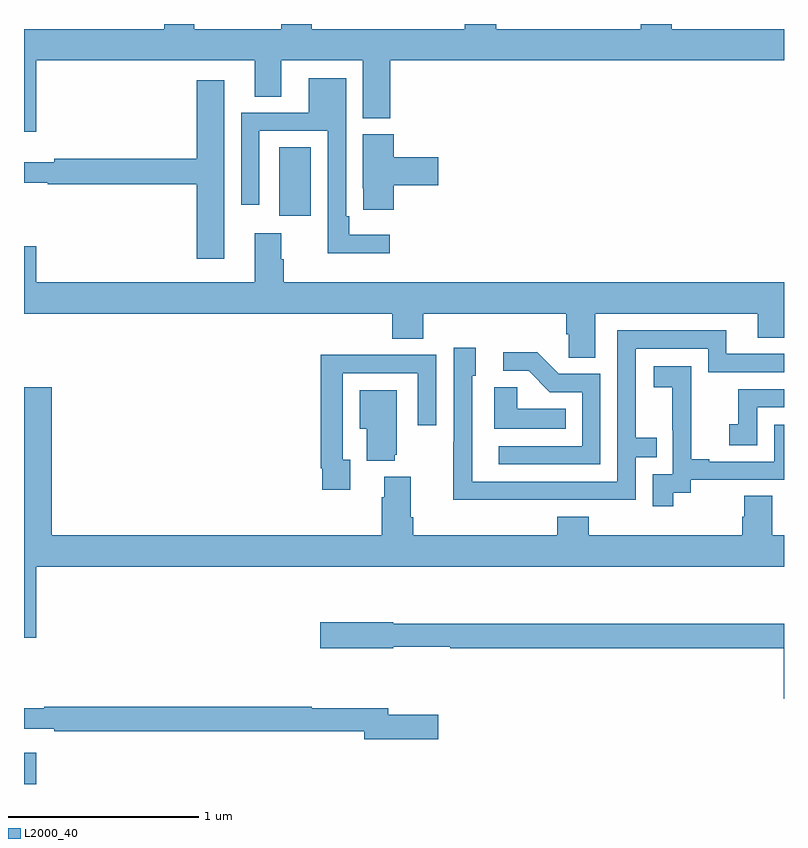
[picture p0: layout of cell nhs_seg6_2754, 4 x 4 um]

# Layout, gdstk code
import gdstk
lib = gdstk.Library(unit=1e-6, precision=1e-09)
def R(c, l, rs):  # rectangles x0, y0, x1, y1
    for r in rs: c.add(gdstk.rectangle(r[:2], r[2:], *l))
def P(c, l, *ps):  # polygons
    for p in ps: c.add(gdstk.Polygon(p, *l))
L2000_40 = (2000, 40)

nhs_seg6_2754 = lib.new_cell('nhs_seg6_2754')
R(nhs_seg6_2754, L2000_40, [(273,971.5,273.064,971.665), (274.343,974.49,274.51,974.852)])
P(nhs_seg6_2754, L2000_40, [(273.064,975.308),(274.214,975.308),(274.214,975.118),(274.354,975.118),(274.354,975.308),(274.784,975.308),(274.784,975.004),(274.928,975.004),(274.928,975.308),(277,975.308),(277,975.472),(276.41,975.472),(276.41,975.5),(276.245,975.5),(276.245,975.472),(275.486,975.472),(275.486,975.5),(275.321,975.5),(275.321,975.472),(274.514,975.472),(274.514,975.5),(274.354,975.5),(274.354,975.472),(273.897,975.472),(273.897,975.5),(273.737,975.5),(273.737,975.472),(273,975.472),(273,974.934),(273.064,974.934)],
  [(274.924,974.392),(274.711,974.392),(274.711,974.488),(274.695,974.488),(274.695,975.214),(274.499,975.214),(274.499,975.033),(274.143,975.033),(274.143,974.55),(274.239,974.55),(274.239,974.937),(274.599,974.937),(274.599,974.294),(274.924,974.294)],
  [(274.054,975.205),(273.908,975.205),(273.908,974.792),(273.16,974.792),(273.16,974.773),(273,974.773),(273,974.664),(273.124,974.664),(273.124,974.656),(273.908,974.656),(273.908,974.265),(274.054,974.265)],
  [(274.946,974.651),(275.179,974.651),(275.179,974.798),(274.946,974.798),(274.946,974.919),(274.784,974.919),(274.784,974.635),(274.785,974.635),(274.785,974.523),(274.946,974.523)],
  [(276.007,973.976),(276.863,973.976),(276.863,973.849),(277,973.849),(277,974.14),(274.367,974.14),(274.367,974.261),(274.354,974.261),(274.354,974.398),(274.214,974.398),(274.214,974.14),(273.064,974.14),(273.064,974.329),(273,974.329),(273,973.976),(274.937,973.976),(274.937,973.843),(275.102,973.843),(275.102,973.976),(275.855,973.976),(275.855,973.867),(275.868,973.867),(275.868,973.744),(276.007,973.744)],
  [(275.723,972.996),(276.219,972.996),(276.219,973.221),(276.329,973.221),(276.329,973.322),(276.219,973.322),(276.219,973.791),(276.6,973.791),(276.6,973.668),(277,973.668),(277,973.764),(276.697,973.764),(276.697,973.887),(276.123,973.887),(276.123,973.092),(275.358,973.092),(275.358,973.65),(275.377,973.65),(275.377,973.795),(275.262,973.795),(275.262,973.301),(275.26,973.301),(275.26,972.995),(275.723,972.995)],
  [(276.033,973.659),(275.814,973.659),(275.701,973.772),(275.523,973.772),(275.523,973.674),(275.657,973.674),(275.768,973.563),(275.937,973.563),(275.937,973.278),(275.499,973.278),(275.499,973.182),(276.033,973.182)],
  [(274.717,973.206),(274.677,973.206),(274.677,973.662),(275.073,973.662),(275.073,973.389),(275.169,973.389),(275.169,973.758),(274.853,973.758),(274.853,973.76),(274.561,973.76),(274.561,973.162),(274.569,973.162),(274.569,973.05),(274.717,973.05)],
  [(276.418,973.033),(276.51,973.033),(276.51,973.101),(277,973.101),(277,973.392),(276.948,973.392),(276.948,973.197),(276.607,973.197),(276.607,973.21),(276.512,973.21),(276.512,973.493),(276.513,973.493),(276.513,973.699),(276.315,973.699),(276.315,973.589),(276.413,973.589),(276.413,973.361),(276.414,973.361),(276.414,973.131),(276.309,973.131),(276.309,972.963),(276.418,972.963)],
  [(275.852,973.474),(275.595,973.474),(275.595,973.589),(275.474,973.589),(275.474,973.37),(275.852,973.37)],
  [(273.064,972.644),(277,972.644),(277,972.808),(276.939,972.808),(276.939,973.016),(276.791,973.016),(276.791,972.906),(276.779,972.906),(276.779,972.808),(275.972,972.808),(275.972,972.907),(275.807,972.907),(275.807,972.808),(275.048,972.808),(275.048,972.904),(275.035,972.904),(275.035,973.117),(274.895,973.117),(274.895,973.01),(274.883,973.01),(274.883,972.808),(273.146,972.808),(273.146,973.588),(273,973.588),(273,972.27),(273.064,972.27)],
  [(276.858,973.482),(277,973.482),(277,973.578),(276.76,973.578),(276.76,973.393),(276.711,973.393),(276.711,973.284),(276.858,973.284)],
  [(274.952,973.233),(274.963,973.233),(274.963,973.573),(274.766,973.573),(274.766,973.37),(274.805,973.37),(274.805,973.202),(274.952,973.202)],
  [(277,972.343),(274.944,972.343),(274.944,972.351),(274.56,972.351),(274.56,972.214),(274.944,972.214),(274.944,972.222),(275.244,972.222),(275.244,972.214),(276.998,972.214),(276.998,971.949),(277,971.949)],
  [(275.179,971.865),(274.918,971.865),(274.918,971.899),(274.514,971.899),(274.514,971.906),(273.106,971.906),(273.106,971.899),(273,971.899),(273,971.79),(273.16,971.79),(273.16,971.778),(274.79,971.778),(274.79,971.735),(275.179,971.735)])

lib.write_gds('nhs_seg6_2754.gds')
